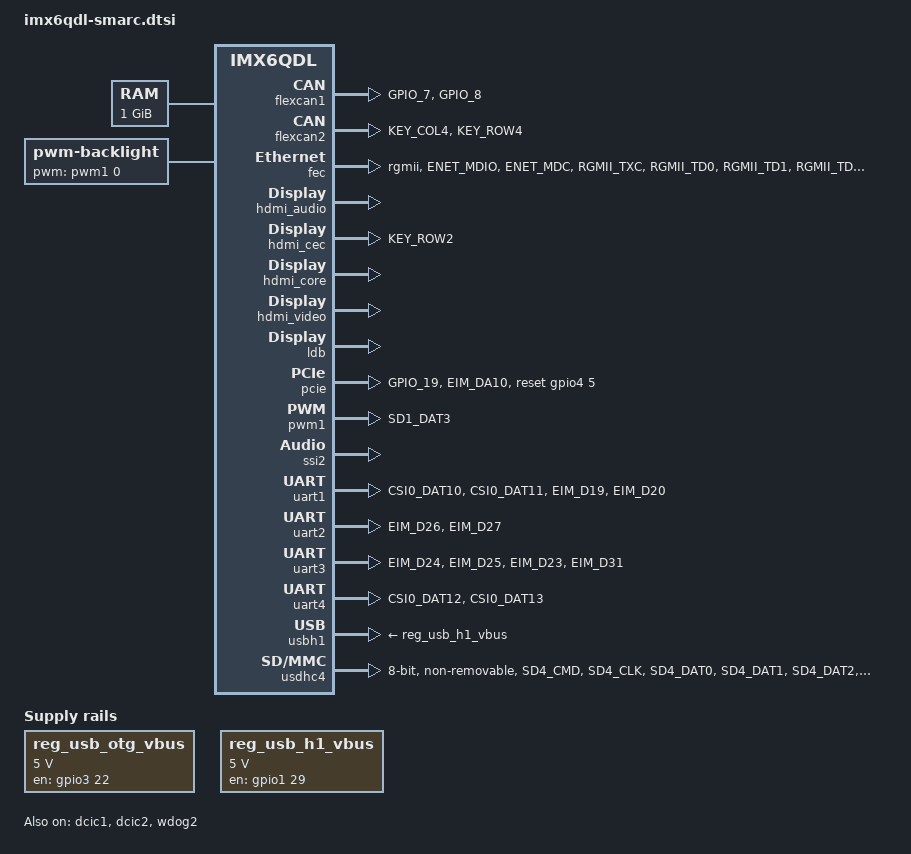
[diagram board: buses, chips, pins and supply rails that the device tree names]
#include <dt-bindings/input/input.h>

/ {
	aliases {
		mxcfb0 = &mxcfb1;
		mxcfb1 = &mxcfb2;
		mxcfb2 = &mxcfb3;
		mxcfb3 = &mxcfb4;
	};

	memory {
		reg = <0x10000000 0x40000000>;
	};

	regulators {
		compatible = "simple-bus";
		#address-cells = <1>;
		#size-cells = <0>;

		reg_usb_otg_vbus: regulator@0 {
			compatible = "regulator-fixed";
			reg = <0>;
			regulator-name = "usb_otg_vbus";
			regulator-min-microvolt = <5000000>;
			regulator-max-microvolt = <5000000>;
			gpio = <&gpio3 22 0>;
			enable-active-high;
		};

		reg_usb_h1_vbus: regulator@1 {
			compatible = "regulator-fixed";
			reg = <1>;
			regulator-name = "usb_h1_vbus";
			regulator-min-microvolt = <5000000>;
			regulator-max-microvolt = <5000000>;
			gpio = <&gpio1 29 0>;
			enable-active-high;
		};
	};

	sound-hdmi {
		compatible =    "fsl,imx6q-audio-hdmi",
				"fsl,imx-audio-hdmi";
		model = "imx-audio-hdmi";
		hdmi-controller = <&hdmi_audio>;
	};

	mxcfb1: fb@0 {
		compatible = "fsl,mxc_sdc_fb";
		disp_dev = "hdmi";
		interface_pix_fmt = "RGB24";
		mode_str ="1920x1080M@60";
		default_bpp = <24>;
		int_clk = <0>;
		late_init = <0>;
		status = "disabled";
	};

	mxcfb2: fb@1 {
		compatible = "fsl,mxc_sdc_fb";
		disp_dev = "lcd";
		interface_pix_fmt = "RGB565";
		mode_str ="CLAA-WVGA";
		default_bpp = <16>;
		int_clk = <0>;
		late_init = <0>;
		status = "disabled";
	};

	mxcfb3: fb@2 {
		compatible = "fsl,mxc_sdc_fb";
		disp_dev = "ldb";
		interface_pix_fmt = "RGB666";
		default_bpp = <16>;
		int_clk = <0>;
		late_init = <0>;
		status = "disabled";
	};

	mxcfb4: fb@3 {
		compatible = "fsl,mxc_sdc_fb";
		disp_dev = "ldb";
		interface_pix_fmt = "RGB666";
		default_bpp = <16>;
		int_clk = <0>;
		late_init = <0>;
		status = "disabled";
	};

	lcd@0 {
		compatible = "fsl,lcd";
		ipu_id = <0>;
		disp_id = <0>;
		default_ifmt = "RGB565";
		pinctrl-names = "default";
		pinctrl-0 = <&pinctrl_ipu1>;
		status = "okay";
	};

	backlight {
		compatible = "pwm-backlight";
		pwms = <&pwm1 0 5000000>;
		brightness-levels = <0 4 8 16 32 64 128 255>;
		default-brightness-level = <7>;
		status = "okay";
	};

	v4l2_out {
		compatible = "fsl,mxc_v4l2_output";
		status = "okay";
	};
};

&flexcan1 {
	pinctrl-names = "default";
	pinctrl-0 = <&pinctrl_flexcan1>;
	status = "okay";
};

&flexcan2 {
	pinctrl-names = "default";
	pinctrl-0 = <&pinctrl_flexcan2>;
	status = "okay";
};

&fec {
	pinctrl-names = "default";
	pinctrl-0 = <&pinctrl_enet>;
	phy-mode = "rgmii";
	fsl,magic-packet;
	status = "okay";
};

&dcic1 {
	dcic_id = <0>;
	dcic_mux = "dcic-hdmi";
	status = "okay";
};

&dcic2 {
	dcic_id = <1>;
	dcic_mux = "dcic-lvds1";
	status = "okay";
};

&hdmi_audio {
	status = "okay";
};

&hdmi_cec {
	pinctrl-names = "default";
	pinctrl-0 = <&pinctrl_hdmi_cec>;
	status = "okay";
};

&hdmi_core {
	ipu_id = <0>;
	disp_id = <0>;
	status = "okay";
};

&hdmi_video {
	fsl,phy_reg_vlev = <0x0294>;
	fsl,phy_reg_cksymtx = <0x800d>;
	status = "okay";
};

&ldb {
	status = "okay";

	lvds-channel@0 {
		fsl,data-mapping = "spwg";
		fsl,data-width = <18>;
		status = "okay";

		display-timings {
			native-mode = <&timing0>;
			timing0: hsd100pxn1 {
				clock-frequency = <65000000>;
				hactive = <1024>;
				vactive = <768>;
				hback-porch = <220>;
				hfront-porch = <40>;
				vback-porch = <21>;
				vfront-porch = <7>;
				hsync-len = <60>;
				vsync-len = <10>;
			};
		};
	};

	lvds-channel@1 {
		fsl,data-mapping = "spwg";
		fsl,data-width = <18>;
		primary;
		status = "okay";

		display-timings {
			native-mode = <&timing1>;
			timing1: hsd100pxn1 {
				clock-frequency = <65000000>;
				hactive = <1024>;
				vactive = <768>;
				hback-porch = <220>;
				hfront-porch = <40>;
				vback-porch = <21>;
				vfront-porch = <7>;
				hsync-len = <60>;
				vsync-len = <10>;
			};
		};
	};
};

&pcie {
	pinctrl-names = "default";
	pinctrl-0 = <&pinctrl_pcie_1>;
	wake-up-gpio = <&gpio3 10 0>;
	reset-gpio = <&gpio4 5 0>;
	status = "okay";
};

&pwm1 {
	pinctrl-names = "default";
	pinctrl-0 = <&pinctrl_pwm1>;
	status = "okay";
};

&ssi2 {
	fsl,mode = "i2s-slave";
	status = "okay";
};

&uart1 {
	pinctrl-names = "default";
	pinctrl-0 = <&pinctrl_uart1>;
	status = "okay";
};

&uart2 {
	pinctrl-names = "default";
	pinctrl-0 = <&pinctrl_uart2>;
	status = "okay";
};

&uart3 {
	pinctrl-names = "default";
	pinctrl-0 = <&pinctrl_uart3>;
	status = "okay";
};

&uart4 {
	pinctrl-names = "default";
	pinctrl-0 = <&pinctrl_uart4>;
	status = "okay";
};

&usbh1 {
	vbus-supply = <&reg_usb_h1_vbus>;
	status = "okay";
};

&usdhc4 {
	pinctrl-names = "default";
	pinctrl-0 = <&pinctrl_usdhc4>;
	bus-width = <8>;
	non-removable;
	no-1-8-v;
	keep-power-in-suspend;
	status = "okay";
};

&wdog1 {
	status = "disabled";
};

&wdog2 {
	status = "okay";
};

&iomuxc {
	imx6qdl-smarc {

		pinctrl_flexcan1: flexcan1grp {
			fsl,pins = <
				MX6QDL_PAD_GPIO_7__FLEXCAN1_TX		0x80000000
				MX6QDL_PAD_GPIO_8__FLEXCAN1_RX		0x80000000
			>;
		};

		pinctrl_flexcan2: flexcan2grp {
			fsl,pins = <
				MX6QDL_PAD_KEY_COL4__FLEXCAN2_TX	0x80000000
				MX6QDL_PAD_KEY_ROW4__FLEXCAN2_RX	0x80000000
			>;
		};

		pinctrl_uart1: uart1grp {
			fsl,pins = <
				MX6QDL_PAD_CSI0_DAT10__UART1_TX_DATA	0x1b0b1
				MX6QDL_PAD_CSI0_DAT11__UART1_RX_DATA	0x1b0b1
				MX6QDL_PAD_EIM_D19__UART1_RTS_B		0x1b0b1
				MX6QDL_PAD_EIM_D20__UART1_CTS_B		0x1b0b1
			>;
		};

		pinctrl_uart2: uart2grp {
			fsl,pins = <
				MX6QDL_PAD_EIM_D26__UART2_TX_DATA	0x1b0b1
				MX6QDL_PAD_EIM_D27__UART2_RX_DATA	0x1b0b1
			>;
		};

		pinctrl_uart3: uart3grp {
			fsl,pins = <
				MX6QDL_PAD_EIM_D24__UART3_TX_DATA	0x1b0b1
				MX6QDL_PAD_EIM_D25__UART3_RX_DATA	0x1b0b1
				MX6QDL_PAD_EIM_D23__UART3_RTS_B		0x1b0b1
				MX6QDL_PAD_EIM_D31__UART3_CTS_B		0x1b0b1
			>;
		};

		pinctrl_uart4: uart4grp {
			fsl,pins = <
				MX6QDL_PAD_CSI0_DAT12__UART4_TX_DATA	0x1b0b1
				MX6QDL_PAD_CSI0_DAT13__UART4_RX_DATA	0x1b0b1
			>;
		};

		pinctrl_hdmi_cec: hdmicecgrp {
			fsl,pins = <
				MX6QDL_PAD_KEY_ROW2__HDMI_TX_CEC_LINE	0x1f8b0
			>;
		};

		pinctrl_hdmi_hdcp: hdmihdcpgrp {
			fsl,pins = <
				MX6QDL_PAD_KEY_COL3__HDMI_TX_DDC_SCL	0x4001b8b1
                                MX6QDL_PAD_KEY_ROW3__HDMI_TX_DDC_SDA	0x4001b8b1
			>;
		};

		pinctrl_i2c1: i2c1grp {
			fsl,pins = <
				MX6QDL_PAD_CSI0_DAT8__I2C1_SDA		0x4001b8b1
				MX6QDL_PAD_CSI0_DAT9__I2C1_SCL		0x4001b8b1
			>;
		};

		pinctrl_i2c2: i2c2grp {
			fsl,pins = <
				MX6QDL_PAD_KEY_COL3__I2C2_SCL		0x4001b8b1
				MX6QDL_PAD_KEY_ROW3__I2C2_SDA		0x4001b8b1
			>;
		};

		pinctrl_i2c3: i2c3grp {
			fsl,pins = <
				MX6QDL_PAD_GPIO_3__I2C3_SCL		0x4001b8b1
				MX6QDL_PAD_GPIO_6__I2C3_SDA		0x4001b8b1
			>;
		};

		pinctrl_usbotg: usbotggrp {
			fsl,pins = <
				MX6QDL_PAD_ENET_RX_ER__USB_OTG_ID	0x1705
			>;
		};

		pinctrl_usdhc2: usdhc2grp {
			fsl,pins = <
				MX6QDL_PAD_SD2_CMD__SD2_CMD		0x17059
				MX6QDL_PAD_SD2_CLK__SD2_CLK		0x10059
				MX6QDL_PAD_SD2_DAT0__SD2_DATA0		0x17059
				MX6QDL_PAD_SD2_DAT1__SD2_DATA1		0x17059
				MX6QDL_PAD_SD2_DAT2__SD2_DATA2		0x17059
				MX6QDL_PAD_SD2_DAT3__SD2_DATA3		0x17059
				MX6QDL_PAD_EIM_DA14__GPIO3_IO14		0x80000000
				MX6QDL_PAD_EIM_DA13__GPIO3_IO13		0x80000000
			>;
		};

		pinctrl_usdhc4: usdhc4grp {
			fsl,pins = <
				MX6QDL_PAD_SD4_CMD__SD4_CMD		0x17059
				MX6QDL_PAD_SD4_CLK__SD4_CLK		0x10059
				MX6QDL_PAD_SD4_DAT0__SD4_DATA0		0x17059
				MX6QDL_PAD_SD4_DAT1__SD4_DATA1		0x17059
				MX6QDL_PAD_SD4_DAT2__SD4_DATA2		0x17059
				MX6QDL_PAD_SD4_DAT3__SD4_DATA3		0x17059
				MX6QDL_PAD_SD4_DAT4__SD4_DATA4		0x17059
				MX6QDL_PAD_SD4_DAT5__SD4_DATA5		0x17059
				MX6QDL_PAD_SD4_DAT6__SD4_DATA6		0x17059
				MX6QDL_PAD_SD4_DAT7__SD4_DATA7		0x17059
			>;
		};

		pinctrl_pwm1: pwm1grp {
			fsl,pins = <
				MX6QDL_PAD_SD1_DAT3__PWM1_OUT		0x1b0b1
			>;
		};

		pinctrl_audmux: audmuxgrp {
                        fsl,pins = <
				MX6QDL_PAD_CSI0_DAT7__AUD3_RXD		0x130b0
				MX6QDL_PAD_CSI0_DAT4__AUD3_TXC		0x130b0
				MX6QDL_PAD_CSI0_DAT5__AUD3_TXD		0x110b0
				MX6QDL_PAD_CSI0_DAT6__AUD3_TXFS		0x130b0
				MX6QDL_PAD_SD1_DAT1__GPIO1_IO17		0x80000000
				MX6QDL_PAD_EIM_DA6__GPIO3_IO06		0x80000000
                        >;
                };

		pinctrl_enet: enetgrp {
			fsl,pins = <
				MX6QDL_PAD_ENET_MDIO__ENET_MDIO		0x1b0b0
				MX6QDL_PAD_ENET_MDC__ENET_MDC		0x1b0b0
				MX6QDL_PAD_RGMII_TXC__RGMII_TXC		0x1b0b0
				MX6QDL_PAD_RGMII_TD0__RGMII_TD0		0x1b0b0
				MX6QDL_PAD_RGMII_TD1__RGMII_TD1		0x1b0b0
				MX6QDL_PAD_RGMII_TD2__RGMII_TD2		0x1b0b0
				MX6QDL_PAD_RGMII_TD3__RGMII_TD3		0x1b0b0
				MX6QDL_PAD_RGMII_TX_CTL__RGMII_TX_CTL	0x1b0b0
				MX6QDL_PAD_ENET_REF_CLK__ENET_TX_CLK	0x1b0b0
				MX6QDL_PAD_RGMII_RXC__RGMII_RXC		0x1b0b0
				MX6QDL_PAD_RGMII_RD0__RGMII_RD0		0x1b0b0
				MX6QDL_PAD_RGMII_RD1__RGMII_RD1		0x1b0b0
				MX6QDL_PAD_RGMII_RD2__RGMII_RD2		0x1b0b0
				MX6QDL_PAD_RGMII_RD3__RGMII_RD3		0x1b0b0
				MX6QDL_PAD_RGMII_RX_CTL__RGMII_RX_CTL	0x1b0b0
				MX6QDL_PAD_GPIO_16__ENET_REF_CLK	0x4001b0a8
			>;
		};

		pinctrl_pcie_1: pcie1grp-1 {
			fsl,pins = <
				MX6QDL_PAD_GPIO_19__GPIO4_IO05		0x80000000
				MX6QDL_PAD_EIM_DA10__GPIO3_IO10		0x80000000
			>;
		};

		pinctrl_ipu1: ipu1grp {
			fsl,pins = <
				MX6QDL_PAD_DI0_DISP_CLK__IPU1_DI0_DISP_CLK	0x10
				MX6QDL_PAD_DI0_PIN15__IPU1_DI0_PIN15		0x10
				MX6QDL_PAD_DI0_PIN2__IPU1_DI0_PIN02		0x10
				MX6QDL_PAD_DI0_PIN3__IPU1_DI0_PIN03		0x10
				MX6QDL_PAD_DI0_PIN4__IPU1_DI0_PIN04		0x80000000
				MX6QDL_PAD_DISP0_DAT0__IPU1_DISP0_DATA00	0x10
				MX6QDL_PAD_DISP0_DAT1__IPU1_DISP0_DATA01	0x10
				MX6QDL_PAD_DISP0_DAT2__IPU1_DISP0_DATA02	0x10
				MX6QDL_PAD_DISP0_DAT3__IPU1_DISP0_DATA03	0x10
				MX6QDL_PAD_DISP0_DAT4__IPU1_DISP0_DATA04	0x10
				MX6QDL_PAD_DISP0_DAT5__IPU1_DISP0_DATA05	0x10
				MX6QDL_PAD_DISP0_DAT6__IPU1_DISP0_DATA06	0x10
				MX6QDL_PAD_DISP0_DAT7__IPU1_DISP0_DATA07	0x10
				MX6QDL_PAD_DISP0_DAT8__IPU1_DISP0_DATA08	0x10
				MX6QDL_PAD_DISP0_DAT9__IPU1_DISP0_DATA09	0x10
				MX6QDL_PAD_DISP0_DAT10__IPU1_DISP0_DATA10	0x10
				MX6QDL_PAD_DISP0_DAT11__IPU1_DISP0_DATA11	0x10
				MX6QDL_PAD_DISP0_DAT12__IPU1_DISP0_DATA12	0x10
				MX6QDL_PAD_DISP0_DAT13__IPU1_DISP0_DATA13	0x10
				MX6QDL_PAD_DISP0_DAT14__IPU1_DISP0_DATA14	0x10
				MX6QDL_PAD_DISP0_DAT15__IPU1_DISP0_DATA15	0x10
				MX6QDL_PAD_DISP0_DAT16__IPU1_DISP0_DATA16	0x10
				MX6QDL_PAD_DISP0_DAT17__IPU1_DISP0_DATA17	0x10
				MX6QDL_PAD_DISP0_DAT18__IPU1_DISP0_DATA18	0x10
				MX6QDL_PAD_DISP0_DAT19__IPU1_DISP0_DATA19	0x10
				MX6QDL_PAD_DISP0_DAT20__IPU1_DISP0_DATA20	0x10
				MX6QDL_PAD_DISP0_DAT21__IPU1_DISP0_DATA21	0x10
				MX6QDL_PAD_DISP0_DAT22__IPU1_DISP0_DATA22	0x10
				MX6QDL_PAD_DISP0_DAT23__IPU1_DISP0_DATA23	0x10
			>;
		};
	};
};

